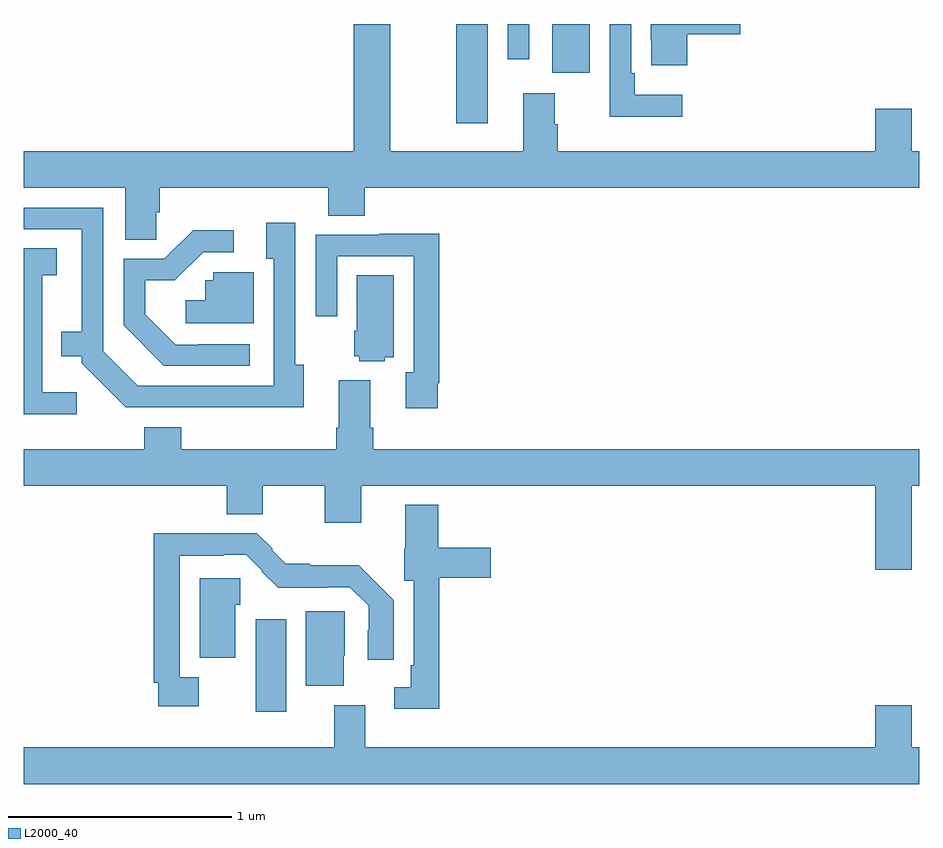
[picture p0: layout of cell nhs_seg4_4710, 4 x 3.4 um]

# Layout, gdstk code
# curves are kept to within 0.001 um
import gdstk
lib = gdstk.Library(unit=1e-6, precision=1e-09)
def R(c, l, rs):  # rectangles x0, y0, x1, y1
    for r in rs: c.add(gdstk.rectangle(r[:2], r[2:], *l))
def P(c, l, *ps):  # polygons
    for p in ps: c.add(gdstk.Polygon(p, *l))
L2000_40 = (2000, 40)

nhs_seg4_4710 = lib.new_cell('nhs_seg4_4710')
R(nhs_seg4_4710, L2000_40, [(366.035,779.826,366.172,780.241), (366.931,782.457,367.072,782.9), (367.361,782.682,367.528,782.9), (367.161,782.742,367.257,782.9)])
P(nhs_seg4_4710, L2000_40, [(365.591,782.058),(365.606,782.058),(365.606,782.168),(366.359,782.168),(366.359,782.044),(366.524,782.044),(366.524,782.168),(369,782.168),(369,782.332),(368.968,782.332),(368.968,782.521),(368.804,782.521),(368.804,782.332),(367.385,782.332),(367.385,782.453),(367.372,782.453),(367.372,782.59),(367.232,782.59),(367.232,782.332),(366.637,782.332),(366.637,782.9),(366.473,782.9),(366.473,782.332),(365,782.332),(365,782.168),(365.453,782.168),(365.453,781.936),(365.591,781.936)],
  [(367.964,782.855),(368.201,782.855),(368.201,782.9),(367.802,782.9),(367.802,782.827),(367.803,782.827),(367.803,782.715),(367.964,782.715)],
  [(367.942,782.584),(367.729,782.584),(367.729,782.68),(367.713,782.68),(367.713,782.9),(367.617,782.9),(367.617,782.486),(367.942,782.486)],
  [(366.25,781.378),(366.213,781.378),(366.213,782.011),(366.083,782.011),(366.083,781.85),(366.117,781.85),(366.117,781.284),(365.508,781.284),(365.355,781.437),(365.355,782.079),(365,782.079),(365,781.983),(365.258,781.983),(365.258,781.525),(365.167,781.525),(365.167,781.415),(365.259,781.415),(365.259,781.383),(365.454,781.188),(366.25,781.187)],
  [(366.01,781.47),(365.779,781.47),(365.779,781.467),(365.679,781.467),(365.542,781.604),(365.542,781.754),(365.675,781.754),(365.802,781.881),(365.938,781.881),(365.938,781.979),(365.756,781.979),(365.628,781.851),(365.445,781.851),(365.445,781.553),(365.624,781.374),(366.01,781.374)],
  [(366.85,781.294),(366.857,781.294),(366.857,781.963),(366.587,781.963),(366.587,781.959),(366.303,781.959),(366.303,781.593),(366.399,781.593),(366.399,781.863),(366.741,781.863),(366.741,781.343),(366.707,781.343),(366.707,781.182),(366.85,781.182)],
  [(365.236,781.255),(365.082,781.255),(365.082,781.777),(365.146,781.777),(365.146,781.898),(365,781.898),(365,781.157),(365.236,781.157)],
  [(366.028,781.791),(365.847,781.791),(365.847,781.755),(365.811,781.755),(365.811,781.666),(365.724,781.666),(365.724,781.563),(366.028,781.563)],
  [(366.612,781.412),(366.652,781.412),(366.652,781.778),(366.488,781.778),(366.488,781.53),(366.476,781.53),(366.476,781.416),(366.498,781.416),(366.498,781.394),(366.612,781.394)],
  [(368.968,780.836),(369,780.836),(369,781),(366.56,781),(366.56,781.096),(366.547,781.096),(366.547,781.309),(366.407,781.309),(366.407,781.096),(366.395,781.096),(366.395,781),(365.702,781),(365.702,781.099),(365.537,781.099),(365.537,781),(365,781),(365,780.836),(365.906,780.836),(365.906,780.71),(366.067,780.71),(366.067,780.836),(366.344,780.836),(366.344,780.672),(366.508,780.672),(366.508,780.836),(368.804,780.836),(368.804,780.462),(368.968,780.462)],
  [(366.857,780.425),(367.087,780.425),(367.087,780.559),(366.851,780.559),(366.851,780.751),(366.704,780.751),(366.704,780.555),(366.699,780.555),(366.699,780.413),(366.741,780.413),(366.741,780.034),(366.729,780.034),(366.729,779.937),(366.654,779.937),(366.654,779.84),(366.857,779.84)],
  [(365.782,779.98),(365.697,779.98),(365.697,780.524),(365.894,780.524),(365.894,780.528),(365.994,780.528),(366.066,780.456),(366.063,780.453),(366.137,780.38),(366.356,780.38),(366.356,780.384),(366.456,780.384),(366.54,780.3),(366.54,780.192),(366.536,780.192),(366.536,780.06),(366.652,780.06),(366.652,780.324),(366.497,780.481),(366.277,780.481),(366.277,780.489),(366.169,780.489),(366.107,780.551),(366.111,780.555),(366.041,780.625),(365.581,780.625),(365.581,779.956),(365.601,779.956),(365.601,779.852),(365.782,779.852)],
  [(365.944,780.306),(365.967,780.306),(365.967,780.423),(365.786,780.423),(365.786,780.068),(365.944,780.068)],
  [(366.43,780.078),(366.433,780.078),(366.433,780.276),(366.26,780.276),(366.26,779.942),(366.43,779.942)],
  [(369,779.668),(368.968,779.668),(368.968,779.857),(368.804,779.857),(368.804,779.668),(366.526,779.668),(366.526,779.857),(366.386,779.857),(366.386,779.668),(365,779.668),(365,779.504),(369,779.504)])

lib.write_gds('nhs_seg4_4710.gds')
